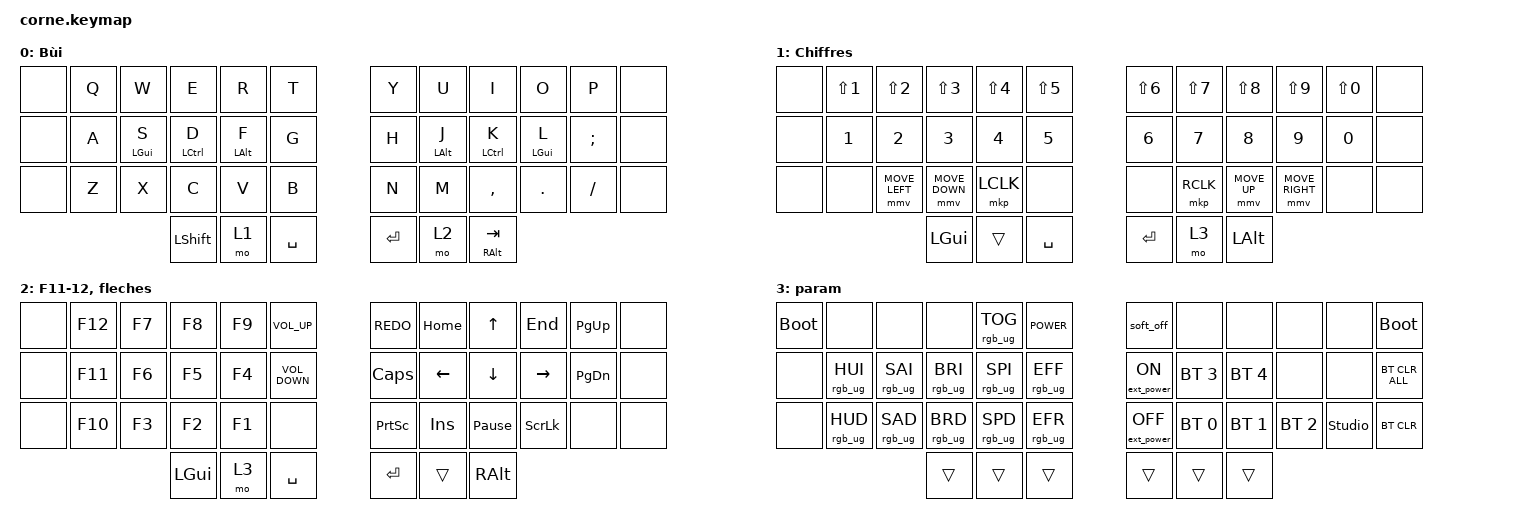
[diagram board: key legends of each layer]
/*
 * Copyright (c) 2020 The ZMK Contributors
 *
 * SPDX-License-Identifier: MIT
 */

#include <behaviors.dtsi>
#include <dt-bindings/zmk/bt.h>
#include <dt-bindings/zmk/ext_power.h>
#include <dt-bindings/zmk/keys.h>
#include <dt-bindings/zmk/pointing.h>
#include <dt-bindings/zmk/rgb.h>
#include <dt-bindings/zmk/pointing.h>

&led_strip {
    // 21 backlight + 6 glowlight

    chain-length = <27>;
};

/ {
    behaviors {
        HMR_R: HMR_R {
            compatible = "zmk,behavior-hold-tap";
            label = "HMR_R";
            bindings = <&kp>, <&kp>;

            #binding-cells = <2>;
            tapping-term-ms = <280>;
            quick-tap-ms = <175>;
            flavor = "balanced";
            hold-trigger-key-positions = <0 1 2 3 4 5 12 13 14 15 16 17 24 25 26 27 28 29 36 37 38 39 40 41>;
            hold-trigger-on-release;
            require-prior-idle-ms = <265>;
        };

        HRM_L: HRM_L {
            compatible = "zmk,behavior-hold-tap";
            label = "HRM_L";
            bindings = <&kp>, <&kp>;

            #binding-cells = <2>;
            tapping-term-ms = <200>;
            quick-tap-ms = <175>;
            hold-trigger-on-release;
            hold-trigger-key-positions = <6 7 8 9 10 11 18 19 20 21 22 23 30 31 32 33 34 35 39 40 41 37 38 36>;
            flavor = "balanced";
            require-prior-idle-ms = <265>;
        };

        delete: delete {
            compatible = "zmk,behavior-caps-word";
            label = "DELETE";
            #binding-cells = <0>;
            continue-list = <DELETE>;
        };
    };

    combos {
        compatible = "zmk,combos";

        combo_delete {
            bindings = <&kp DELETE>;
            key-positions = <20 22 21>;
        };

        combo_delete_backwards {
            bindings = <&kp BACKSPACE>;
            key-positions = <21 20 19>;
            timeout-ms = <100>;
        };

        combo_escape_left {
            bindings = <&kp ESCAPE>;
            key-positions = <14 13 15 16>;
        };

        combo_escape_right {
            bindings = <&kp ESCAPE>;
            key-positions = <19 20 21 22>;
        };

        combo_lock_session {
            bindings = <&kp C_AL_SCREEN_SAVER>;
            key-positions = <13 14 15 16 19 20 21 22>;
        };
    };

    keymap {
        compatible = "zmk,keymap";

        default_name {
            label = "Bùi";
            display-name = "Bùi";
            bindings = <
&none  &kp Q  &kp W          &kp E           &kp R              &kp T        &kp Y      &kp U          &kp I                  &kp O          &kp P     &none
&none  &kp A  &HRM_L LGUI S  &HRM_L LCTRL D  &HRM_L LEFT_ALT F  &kp G        &kp H      &HMR_R LALT J  &HMR_R LEFT_CONTROL K  &HMR_R LGUI L  &kp SEMI  &none
&none  &kp Z  &kp X          &kp C           &kp V              &kp B        &kp N      &kp M          &kp COMMA              &kp DOT        &kp FSLH  &none
                             &kp LEFT_SHIFT  &mo 1              &kp SPACE    &kp ENTER  &mo 2          &mt RALT TAB
            >;
        };

        num_nav {
            label = "Num";
            display-name = "Chiffres";
            bindings = <
&none  &kp LS(N1)  &kp LS(N2)      &kp LS(N3)      &kp LS(N4)  &kp LS(N5)    &kp LS(N6)  &kp LS(N7)  &kp LS(N8)    &kp LS(N9)       &kp LS(N0)  &none
&none  &kp N1      &kp N2          &kp N3          &kp N4      &kp N5        &kp N6      &kp N7      &kp N8        &kp N9           &kp N0      &none
&none  &none       &mmv MOVE_LEFT  &mmv MOVE_DOWN  &mkp LCLK   &none         &none       &mkp RCLK   &mmv MOVE_UP  &mmv MOVE_RIGHT  &none       &none
                                   &kp LGUI        &trans      &kp SPACE     &kp ENTER   &mo 3       &kp LALT
            >;
        };

        func_nav {
            bindings = <
&none  &kp F12  &kp F7  &kp F8    &kp F9  &kp K_VOLUME_UP      &kp K_REDO       &kp HOME        &kp UP_ARROW     &kp END          &kp PAGE_UP    &none
&none  &kp F11  &kp F6  &kp F5    &kp F4  &kp K_VOLUME_DOWN    &kp CAPSLOCK     &kp LEFT_ARROW  &kp DOWN_ARROW   &kp RIGHT_ARROW  &kp PAGE_DOWN  &none
&none  &kp F10  &kp F3  &kp F2    &kp F1  &none                &kp PRINTSCREEN  &kp INSERT      &kp PAUSE_BREAK  &kp SCROLLLOCK   &none          &none
                        &kp LGUI  &mo 3   &kp SPACE            &kp ENTER        &trans          &kp RALT
            >;

            label = "Nav";
            display-name = "F11-12, fleches";
        };

        param {
            bindings = <
&bootloader  &none            &none            &none            &rgb_ug RGB_TOG  &kp K_POWER        &soft_off          &none         &none         &none         &none           &bootloader
&none        &rgb_ug RGB_HUI  &rgb_ug RGB_SAI  &rgb_ug RGB_BRI  &rgb_ug RGB_SPI  &rgb_ug RGB_EFF    &ext_power EP_ON   &bt BT_SEL 3  &bt BT_SEL 4  &none         &none           &bt BT_CLR_ALL
&none        &rgb_ug RGB_HUD  &rgb_ug RGB_SAD  &rgb_ug RGB_BRD  &rgb_ug RGB_SPD  &rgb_ug RGB_EFR    &ext_power EP_OFF  &bt BT_SEL 0  &bt BT_SEL 1  &bt BT_SEL 2  &studio_unlock  &bt BT_CLR
                                               &trans           &trans           &trans             &trans             &trans        &trans
            >;

            label = "param";
        };
    };
};
